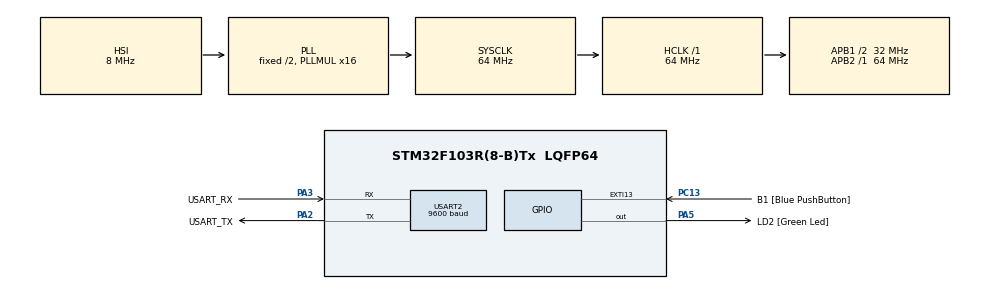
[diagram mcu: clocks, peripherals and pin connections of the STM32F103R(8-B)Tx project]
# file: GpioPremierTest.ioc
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Mcu.Family=STM32F1
Mcu.Name=STM32F103R(8-B)Tx
Mcu.Package=LQFP64
NVIC.EXTI15_10_IRQn=true\:0\:0\:false\:false\:true\:true\:true\:true
NVIC.PriorityGroup=NVIC_PRIORITYGROUP_4
NVIC.USART2_IRQn=true\:0\:0\:false\:false\:true\:true\:true\:true
PA13.GPIO_Label=TMS
PA13.Mode=Serial_Wire
PA13.Signal=SYS_JTMS-SWDIO
PA14.GPIO_Label=TCK
PA14.Mode=Serial_Wire
PA14.Signal=SYS_JTCK-SWCLK
PA2.GPIO_Label=USART_TX
PA2.GPIO_Mode=GPIO_MODE_AF_PP
PA2.GPIO_PuPd=GPIO_NOPULL
PA2.GPIO_Speed=GPIO_SPEED_FREQ_LOW
PA2.Mode=Asynchronous
PA2.Signal=USART2_TX
PA3.GPIO_Label=USART_RX
PA3.GPIO_Mode=GPIO_MODE_AF_PP
PA3.GPIO_PuPd=GPIO_NOPULL
PA3.GPIO_Speed=GPIO_SPEED_FREQ_LOW
PA3.Mode=Asynchronous
PA3.Signal=USART2_RX
PA5.GPIO_Label=LD2 [Green Led]
PA5.GPIO_ModeDefaultOutputPP=GPIO_MODE_OUTPUT_PP
PA5.GPIO_PuPd=GPIO_NOPULL
PA5.GPIO_Speed=GPIO_SPEED_FREQ_LOW
PA5.Signal=GPIO_Output
PB3.GPIO_Label=SWO
PB3.Signal=SYS_JTDO-TRACESWO
PC13-TAMPER-RTC.GPIO_Label=B1 [Blue PushButton]
PC13-TAMPER-RTC.GPIO_PuPd=GPIO_NOPULL
PC13-TAMPER-RTC.Signal=GPXTI13
PC14-OSC32_IN.Mode=LSE-External-Oscillator
PC14-OSC32_IN.Signal=RCC_OSC32_IN
PC15-OSC32_OUT.Mode=LSE-External-Oscillator
PC15-OSC32_OUT.Signal=RCC_OSC32_OUT
PD0-OSC_IN.Mode=HSE-External-Clock-Source
PD0-OSC_IN.Signal=RCC_OSC_IN
PD1-OSC_OUT.Mode=HSE-External-Clock-Source
PD1-OSC_OUT.Signal=RCC_OSC_OUT
ProjectManager.HeapSize=0x200
ProjectManager.StackSize=0x400
ProjectManager.TargetToolchain=STM32CubeIDE
RCC.AHBFreq_Value=64000000
RCC.APB1CLKDivider=RCC_HCLK_DIV2
RCC.APB1Freq_Value=32000000
RCC.APB1TimFreq_Value=64000000
RCC.APB2Freq_Value=64000000
RCC.APB2TimFreq_Value=64000000
RCC.HCLKFreq_Value=64000000
RCC.PLLMUL=RCC_PLL_MUL16
RCC.RTCClockSelection=RCC_RTCCLKSOURCE_LSE
RCC.SYSCLKFreq_VALUE=64000000
RCC.SYSCLKSource=RCC_SYSCLKSOURCE_PLLCLK
RCC.USBFreq_Value=64000000
USART2.BaudRate=9600
USART2.VirtualMode=VM_ASYNC
board=NUCLEO-F103RB

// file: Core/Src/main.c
/* USER CODE BEGIN Header */
/**
  ******************************************************************************
  * @file           : main.c
  * @brief          : Main program body
  ******************************************************************************
  * @attention
  *
  * Copyright (c) 2022 STMicroelectronics.
  * All rights reserved.
  *
  * This software is licensed under terms that can be found in the LICENSE file
  * in the root directory of this software component.
  * If no LICENSE file comes with this software, it is provided AS-IS.
  *
  ******************************************************************************
  */
/* USER CODE END Header */
#include "main.h"

UART_HandleTypeDef huart2;
uint32_t test_direction;

volatile uint8_t Rx_data[5]= {0};
volatile uint8_t Tx_data[5];
struct PortIO Current_Port;

#define FALSE (1==0)
#define TRUE  (1==1)

/// Function read register: Used to read the value of a register
uint32_t read_register( volatile uint32_t *register_to_read){

  uint32_t tmp = *register_to_read;
  return(tmp);

 }

/// Function "Is the mode output" returns TRUE if the GPIO is in mode output push pull, FALSE otherwise.
uint8_t Is_the_mode_output(){
	uint8_t L[4] ={0,0,0,1};

	for(int j=1; j<5; j++){
		if(Tx_data[j]!= L[j-1]){
			return(FALSE);
		}
	}
	return(TRUE);
}

struct PortIO
{

	uint32_t active_clock;
	uint32_t gpio_direction;
	uint32_t numPin;
	uint32_t val;
	uint32_t portLetter;
	uint32_t actual_direction;
	uint32_t actual_value;

	volatile uint32_t *clock_for_gpio;
	volatile uint32_t *portAdressCrl;
	volatile uint32_t *portAdressCrh;
	volatile uint32_t *portAdressOdr;
};

///Function Port IO Clock: Activates the clocks of port A,B,C,D,E, F and G
void PortIO_Clock(struct PortIO* _this){
	_this -> clock_for_gpio = (uint32_t*) 0x40021018;
	_this -> active_clock = 0x1FC;

	*(_this-> clock_for_gpio) = *(_this-> clock_for_gpio) | (_this->active_clock);

}

///Function Port IO init: Initializes the structURE PortIO with the required adresses according to the chosen port letter.
void PortIO_init(struct PortIO* _this)
{

	switch(_this->portLetter){

	case 1: //Port A
		_this ->portAdressCrl =(uint32_t *) 0x40010800;
		_this ->portAdressCrh =(uint32_t *) 0x40010804;
		_this ->portAdressOdr=(uint32_t *) 0x4001080C;
		break;

	case 2: //Port B
		_this ->portAdressCrl =(uint32_t *) 0x40010C00;
		_this ->portAdressCrh =(uint32_t *) 0x40010C04;
		_this ->portAdressOdr =(uint32_t *) 0x40010C0C;
		break;

	case 3: //Port C
		_this ->portAdressCrl =(uint32_t *) 0x40011000;
		_this ->portAdressCrh =(uint32_t *) 0x40011004;
		_this ->portAdressOdr =(uint32_t *) 0x4001100C;
		break;

	case 4: //Port D
		_this ->portAdressCrl =(uint32_t *) 0x40011400;
		_this ->portAdressCrh =(uint32_t *) 0x40011404;
		_this ->portAdressOdr =(uint32_t *) 0x4001140C;
		break;

	}

}

///Function Port read value: Reads the GPIO output register of a specified pin and store it in Tx_data[0]
void Port_read_value(struct PortIO* _this){

	_this->actual_value = *(_this->portAdressOdr) & (1<<_this->numPin);
	if(_this->actual_value == (1<<_this->numPin)){
		Tx_data[0]=1;
	}
	else{
		Tx_data[0]=0;
	}

}

///Function Port read direction: Reads the mode of an IO and store it the table Tx_data, from Tx_data[1] to Tx_data[4]
void Port_read_direction(struct PortIO* _this){

	if(_this->numPin >=8){ //The mode of the I/O is coded in the register GPIOx_CRH

		test_direction = *(_this->portAdressCrh) & (1<<(4*(_this-> numPin)+3-32));
		if(test_direction == (1<<(4*(_this-> numPin)+3-32))){
			Tx_data[1]=1;
		}
		else{
			Tx_data[1]=0;
		}

		test_direction = *(_this->portAdressCrh) & (1<<(4*(_this-> numPin)+2-32));
		if(test_direction == (1<<(4*(_this-> numPin)+2-32))){
			Tx_data[2]=1;
			}
		else{
			Tx_data[2]=0;
			}

		test_direction = *(_this->portAdressCrh) & (1<<(4*(_this-> numPin)+1-32));
		if(test_direction == (1<<(4*(_this-> numPin)+1-32))){
			Tx_data[3]=1;
				}
		else{
			Tx_data[3]=0;
				}

		test_direction = *(_this->portAdressCrh) & (1<<(4*(_this-> numPin)-32));
		if(test_direction == (1<<(4*(_this-> numPin)-32))){
			Tx_data[4]=1;
				}
		else{
			Tx_data[4]=0;
				}

	}
	else{ //The mode of the I/O is coded in the register GPIOx_CRL

		test_direction = *(_this->portAdressCrl) & (1<<(4*(_this-> numPin)+3));
		if(test_direction == (1<<(4*(_this-> numPin)+3))){
			Tx_data[1]=1;
		}
		else{
			Tx_data[1]=0;
		}

		test_direction = *(_this->portAdressCrl) & (1<<(4*(_this-> numPin)+2));
		if(test_direction == (1<<(4*(_this-> numPin)+2))){
			Tx_data[2]=1;
			}
		else{
			Tx_data[2]=0;
			}

		test_direction = *(_this->portAdressCrl) & (1<<(4*(_this-> numPin)+1));
		if(test_direction == (1<<(4*(_this-> numPin)+1))){
			Tx_data[3]=1;
				}
		else{
			Tx_data[3]=0;
				}

		test_direction = *(_this->portAdressCrl) & (1<<(4*(_this-> numPin)));
		if(test_direction == (1<<(4*(_this-> numPin)))){
			Tx_data[4]=1;
				}
		else{
			Tx_data[4]=0;
				}

	}

}

///Function Port set direction: Set the direction of the GPIO (Output push-pull or Analog input)
void Port_set_direction(struct PortIO* _this)
{

	switch(_this ->gpio_direction){

	case 0: ;//Set INPUT mode
	 	 uint32_t decalage_0;
	 	 uint32_t decalage_1;

	 	  //config CNFy
		 if(_this-> numPin >=8){
		 	_this->actual_direction = read_register(_this->portAdressCrh);

		 	decalage_0 = ~(1 << (4*(_this-> numPin) +3-32));
		 	decalage_1 = ~(1 << (4*(_this-> numPin) +2-32));

		 	_this->actual_direction = _this->actual_direction & decalage_0;
		 	_this->actual_direction = _this->actual_direction & decalage_1;

		 }
		 else{
			 _this->actual_direction = read_register(_this->portAdressCrl);

			 decalage_0 = ~(1 << (4*(_this-> numPin) +3));
		 	 decalage_1 = ~(1 << (4*(_this-> numPin) +2));

		 	 _this->actual_direction = _this->actual_direction & decalage_0;
		 	 _this->actual_direction = _this->actual_direction & decalage_1;

		 }
		 //config MODEy
		 if(_this-> numPin >=8){

	 	   decalage_0 = ~(1 << (4*(_this-> numPin)+1-32));
	 	   decalage_1 = ~(1 << (4*(_this-> numPin)-32));

		   _this->actual_direction = _this->actual_direction & decalage_0;
		   _this->actual_direction = _this->actual_direction & decalage_1;

		   *(_this->portAdressCrh) = _this->actual_direction;
		 }

		 else{
		 	  decalage_0 = ~(1 << (4*(_this-> numPin)));
		 	  decalage_1 = ~(1 << (4*(_this-> numPin)));

			  _this->actual_direction = _this->actual_direction & decalage_0;
			  _this->actual_direction = _this->actual_direction & decalage_1;

			  *(_this->portAdressCrl) = _this->actual_direction;

		 }

		break;

	case 1: ;//Set OUTPUT mode

	 	 //Config CNFy
	 	 if(_this-> numPin >=8){
	 		_this->actual_direction = read_register(_this->portAdressCrh);

	 	 	 decalage_0 = ~(1 << ((4*(_this-> numPin) +2-32)));
	 	 	 decalage_1 = ~(1 <<((4*(_this-> numPin) + 3-32)));

	 	 	 _this->actual_direction = _this->actual_direction & decalage_0;
	 	 	 _this->actual_direction = _this->actual_direction & decalage_1;

	 	 }
	 	 else{
	 		_this->actual_direction = read_register(_this->portAdressCrl);

	 	 	 decalage_0 = ~(1 << (4*(_this-> numPin)+2));
	 	 	 decalage_1 = ~(1 <<(4*(_this-> numPin)+ 3));

	 	 	 _this->actual_direction = _this->actual_direction & decalage_0;
	 	 	 _this->actual_direction = _this->actual_direction & decalage_1;

	 	 }

	 	 //Config MODEy

	 	if(_this-> numPin>=8){
	 	 	decalage_1 = 1<<( 4*(_this-> numPin) -32 );
	 	 	decalage_0 = ~(1 << (4*(_this-> numPin) +1 -32));

		 	_this->actual_direction = _this->actual_direction | decalage_1;
		 	_this->actual_direction = _this->actual_direction & decalage_0;

		 	*(_this->portAdressCrh) = _this->actual_direction;

	 	}

	 	 else {
	 	 	decalage_1 = 1<<( 4*(_this-> numPin));
	 	 	decalage_0 = ~(1 << (4*(_this-> numPin) +1));

		 	_this->actual_direction = _this->actual_direction | decalage_1;
		 	_this->actual_direction = _this->actual_direction & decalage_0;

		 	*(_this->portAdressCrl) = _this->actual_direction;
	 	 	}

		break;

	}

}
///Function Port set value: Sets the value of an I/O to 0 or 1, ONLY if the I/O is in output mode
void Port_set_value(struct PortIO* _this){

 	uint32_t decalage_1 =  1<< _this->numPin;
 	uint8_t error[5]={3,3,3,3,3};
 	uint8_t on[5]={1,0,0,0,1};
 	uint8_t off[5]={0,0,0,0,1};

 	Port_read_direction(_this);
 	if(Is_the_mode_output(Tx_data)==TRUE){

		if(_this->val ==3){ // I/O OFF (0)
			//LED off
			decalage_1 = decalage_1 ^ 0xFFFFFFFF;
			*(_this->portAdressOdr) = *(_this->portAdressOdr) & decalage_1;
			 HAL_UART_Transmit(&huart2,off,sizeof(off),100);
		  }

		else if(_this->val ==2){ // I/O ON (1)
			//LED on
			 *(_this->portAdressOdr) = *(_this->portAdressOdr) | decalage_1;
			 HAL_UART_Transmit(&huart2,on,sizeof(on),100);
		 }
 	}
	else{
 		HAL_UART_Transmit(&huart2,error,sizeof(error),100);
 		Rx_data[3]=-1;
 		 }

 	 }

void Port_free(struct PortIO* _this)
{
//
}

void SystemClock_Config(void);
//static void MX_GPIO_Init(void);
static void MX_USART2_UART_Init(void);

int main(void)
{

  /* Reset of all peripherals, Initializes the Flash interface and the Systick. */
  HAL_Init();

  /* Configure the system clock */
  SystemClock_Config();

  /* Initialize all configured peripherals */
//  MX_GPIO_Init();
  MX_USART2_UART_Init();
  /* USER CODE BEGIN 2 */

  PortIO_Clock(&Current_Port);

  /* Infinite loop */
  /* USER CODE BEGIN WHILE */

while (1)
  {

	HAL_UART_Receive(&huart2, Rx_data,5,7000);

	 if(Rx_data[0]==18 && Rx_data[1]==18){            //Beginning of a trame

		 Current_Port.portLetter = Rx_data[4];
		 Current_Port.numPin = Rx_data[2];
		 PortIO_init(&Current_Port);

		 if(Rx_data[3] == 2 || Rx_data[3] ==3){      // Set the GPIO output to 0 or 1
			 Current_Port.val = Rx_data[3];
			 Port_set_value(&Current_Port);
		 }
		 else if (Rx_data[3]== 0 || Rx_data[3] ==1){ // Set the GPIO mode to input or output
			 Current_Port.gpio_direction = Rx_data[3];
			 Port_set_direction(&Current_Port);
		 }
		 else if(Rx_data[3]==4){                     // Reading the value of a GPIO
			 Port_read_value(&Current_Port);
			 Port_read_direction(&Current_Port);
			 HAL_UART_Transmit(&huart2, Tx_data,sizeof(Tx_data),1000);
			 Rx_data[3]=-1;
			 HAL_Delay(1000);

		 }

		 }
    /* USER CODE END WHILE */
  }
}

void SystemClock_Config(void)
{
  RCC_OscInitTypeDef RCC_OscInitStruct = {0};
  RCC_ClkInitTypeDef RCC_ClkInitStruct = {0};

  /** Initializes the RCC Oscillators according to the specified parameters
  * in the RCC_OscInitTypeDef structure.
  */
  RCC_OscInitStruct.OscillatorType = RCC_OSCILLATORTYPE_HSI;
  RCC_OscInitStruct.HSIState = RCC_HSI_ON;
  RCC_OscInitStruct.HSICalibrationValue = RCC_HSICALIBRATION_DEFAULT;
  RCC_OscInitStruct.PLL.PLLState = RCC_PLL_ON;
  RCC_OscInitStruct.PLL.PLLSource = RCC_PLLSOURCE_HSI_DIV2;
  RCC_OscInitStruct.PLL.PLLMUL = RCC_PLL_MUL16;
  if (HAL_RCC_OscConfig(&RCC_OscInitStruct) != HAL_OK)
  {
    Error_Handler();
  }

  /** Initializes the CPU, AHB and APB buses clocks
  */
  RCC_ClkInitStruct.ClockType = RCC_CLOCKTYPE_HCLK|RCC_CLOCKTYPE_SYSCLK
                              |RCC_CLOCKTYPE_PCLK1|RCC_CLOCKTYPE_PCLK2;
  RCC_ClkInitStruct.SYSCLKSource = RCC_SYSCLKSOURCE_PLLCLK;
  RCC_ClkInitStruct.AHBCLKDivider = RCC_SYSCLK_DIV1;
  RCC_ClkInitStruct.APB1CLKDivider = RCC_HCLK_DIV2;
  RCC_ClkInitStruct.APB2CLKDivider = RCC_HCLK_DIV1;

  if (HAL_RCC_ClockConfig(&RCC_ClkInitStruct, FLASH_LATENCY_2) != HAL_OK)
  {
    Error_Handler();
  }
}

static void MX_USART2_UART_Init(void)
{

  huart2.Instance = USART2;
  huart2.Init.BaudRate = 115200;
  huart2.Init.WordLength = UART_WORDLENGTH_8B;
  huart2.Init.StopBits = UART_STOPBITS_1;
  huart2.Init.Parity = UART_PARITY_NONE;
  huart2.Init.Mode = UART_MODE_TX_RX;
  huart2.Init.HwFlowCtl = UART_HWCONTROL_NONE;
  huart2.Init.OverSampling = UART_OVERSAMPLING_16;
  if (HAL_UART_Init(&huart2) != HAL_OK)
  {
    Error_Handler();
  }

}

static void MX_GPIO_Init(void)
{
  GPIO_InitTypeDef GPIO_InitStruct = {0};

  /* GPIO Ports Clock Enable */
  __HAL_RCC_GPIOC_CLK_ENABLE();
  __HAL_RCC_GPIOD_CLK_ENABLE();
  __HAL_RCC_GPIOA_CLK_ENABLE();
  __HAL_RCC_GPIOB_CLK_ENABLE();

  /*Configure GPIO pin Output Level */
  HAL_GPIO_WritePin(LD2_GPIO_Port, LD2_Pin, GPIO_PIN_RESET);

  /*Configure GPIO pin : B1_Pin */
  GPIO_InitStruct.Pin = B1_Pin;
  GPIO_InitStruct.Mode = GPIO_MODE_IT_RISING;
  GPIO_InitStruct.Pull = GPIO_NOPULL;
  HAL_GPIO_Init(B1_GPIO_Port, &GPIO_InitStruct);

  /*Configure GPIO pin : LD2_Pin */
  GPIO_InitStruct.Pin = LD2_Pin;
  GPIO_InitStruct.Mode = GPIO_MODE_OUTPUT_PP;
  GPIO_InitStruct.Pull = GPIO_NOPULL;
  GPIO_InitStruct.Speed = GPIO_SPEED_FREQ_LOW;
  HAL_GPIO_Init(LD2_GPIO_Port, &GPIO_InitStruct);

  /* EXTI interrupt init*/
  HAL_NVIC_SetPriority(EXTI15_10_IRQn, 0, 0);
  HAL_NVIC_EnableIRQ(EXTI15_10_IRQn);

}

void Error_Handler(void)
{
  __disable_irq();
  while (1)
  {
  }
}
